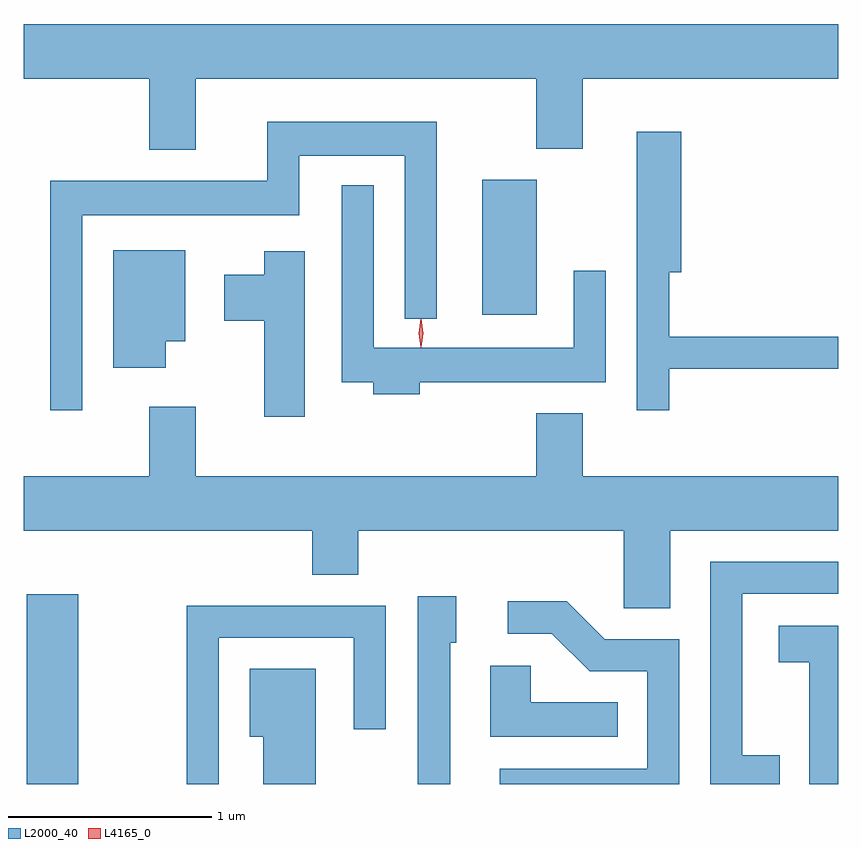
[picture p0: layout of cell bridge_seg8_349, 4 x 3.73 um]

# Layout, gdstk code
import gdstk
lib = gdstk.Library(unit=1e-6, precision=1e-09)
def R(c, l, rs):  # rectangles x0, y0, x1, y1
    for r in rs: c.add(gdstk.rectangle(r[:2], r[2:], *l))
def P(c, l, *ps):  # polygons
    for p in ps: c.add(gdstk.Polygon(p, *l))
L2000_40 = (2000, 40)
L4165_0 = (4165, 0)

bridge_seg8_349 = lib.new_cell('bridge_seg8_349')
R(bridge_seg8_349, L2000_40, [(735.091,1928.413,735.344,1929.344), (737.326,1930.716,737.594,1931.379)])
P(bridge_seg8_349, L2000_40, [(735.919,1931.876),(737.591,1931.876),(737.591,1931.531),(737.819,1931.531),(737.819,1931.876),(739.075,1931.876),(739.075,1932.144),(735.075,1932.144),(735.075,1931.876),(735.691,1931.876),(735.691,1931.526),(735.919,1931.526)],
  [(735.364,1931.206),(736.429,1931.206),(736.429,1931.496),(736.946,1931.496),(736.946,1930.698),(737.104,1930.698),(737.104,1931.664),(736.271,1931.664),(736.271,1931.374),(735.206,1931.374),(735.206,1930.248),(735.364,1930.248)],
  [(738.244,1930.451),(739.075,1930.451),(739.075,1930.609),(738.244,1930.609),(738.244,1930.926),(738.304,1930.926),(738.304,1931.614),(738.086,1931.614),(738.086,1930.248),(738.244,1930.248)],
  [(737.019,1930.386),(737.934,1930.386),(737.934,1930.933),(737.776,1930.933),(737.776,1930.554),(736.794,1930.554),(736.794,1931.353),(736.636,1931.353),(736.636,1930.386),(736.791,1930.386),(736.791,1930.326),(737.019,1930.326)],
  [(735.774,1930.586),(735.869,1930.586),(735.869,1931.034),(735.516,1931.034),(735.516,1930.456),(735.774,1930.456)],
  [(736.454,1931.029),(736.256,1931.029),(736.256,1930.914),(736.061,1930.914),(736.061,1930.686),(736.256,1930.686),(736.256,1930.216),(736.454,1930.216)],
  [(738.249,1929.656),(739.075,1929.656),(739.075,1929.924),(737.819,1929.924),(737.819,1930.234),(737.591,1930.234),(737.591,1929.924),(735.919,1929.924),(735.919,1930.264),(735.691,1930.264),(735.691,1929.924),(735.075,1929.924),(735.075,1929.656),(736.491,1929.656),(736.491,1929.441),(736.719,1929.441),(736.719,1929.656),(738.021,1929.656),(738.021,1929.276),(738.249,1929.276)],
  [(738.788,1928.554),(738.604,1928.554),(738.604,1929.346),(739.075,1929.346),(739.075,1929.504),(738.446,1929.504),(738.446,1928.413),(738.788,1928.413)],
  [(737.169,1929.106),(737.199,1929.106),(737.199,1929.334),(737.011,1929.334),(737.011,1928.413),(737.169,1928.413)],
  [(738.294,1929.124),(737.927,1929.124),(737.742,1929.309),(737.453,1929.309),(737.453,1929.151),(737.669,1929.151),(737.854,1928.966),(738.136,1928.966),(738.136,1928.489),(737.413,1928.489),(737.413,1928.413),(738.294,1928.413)],
  [(736.034,1929.131),(736.696,1929.131),(736.696,1928.683),(736.854,1928.683),(736.854,1929.289),(735.876,1929.289),(735.876,1928.413),(736.034,1928.413)],
  [(739.075,1929.189),(738.781,1929.189),(738.781,1929.011),(738.931,1929.011),(738.931,1928.413),(739.075,1928.413)],
  [(737.993,1928.814),(737.564,1928.814),(737.564,1928.994),(737.366,1928.994),(737.366,1928.646),(737.993,1928.646)],
  [(736.509,1928.979),(736.186,1928.979),(736.186,1928.646),(736.251,1928.646),(736.251,1928.413),(736.509,1928.413)])
P(bridge_seg8_349, L4165_0, [(737.026,1930.557),(737.025,1930.558),(737.016,1930.627),(737.025,1930.696),(737.026,1930.696),(737.026,1930.696),(737.036,1930.627),(737.026,1930.558)])

lib.write_gds('bridge_seg8_349.gds')
